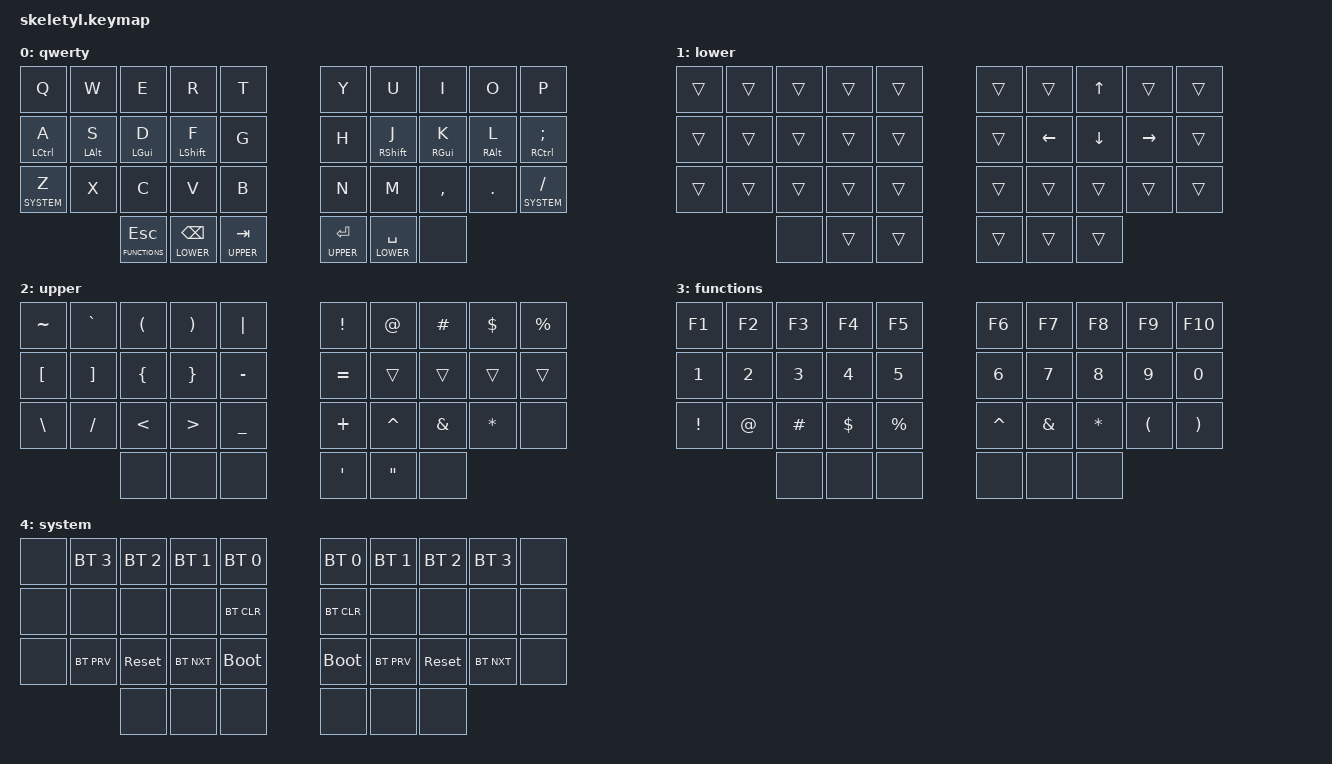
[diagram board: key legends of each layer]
/*
 * Copyright (c) 2023 Charly Delay <0xcharly>
 *
 * SPDX-License-Identifier: MIT
 */

#include <behaviors.dtsi>
#include <dt-bindings/zmk/bt.h>
#include <dt-bindings/zmk/keys.h>

#define QWERTY 0
#define LOWER 1
#define UPPER 2
#define FUNCTIONS 3
#define SYSTEM 4

/ {

  behaviors {

    // Key positions:
    //
    //    0  1  2  3  4    5  6  7  8  9
    //   10 11 12 13 14    15 16 17 18 19
    //   20 21 22 23 24    25 26 27 28 29
    //         30 31 32    33 34 35

    // Tap-preferred flavored homerow mods to use on the right side keys and mouse.
    lhm: left_hand_homerow_mods {
      compatible = "zmk,behavior-hold-tap";
      #binding-cells = <2>;
      tapping-term-ms = <175>;
      quick-tap-ms = <200>;
      require-prior-idle-ms = <200>;
      flavor = "tap-preferred";
      bindings = <&kp>, <&kp>;
      hold-trigger-key-positions = <5 6 7 8 9 15 16 17 18 19 25 26 27 28 29 33 34 35>; // Right-hand keys.
    };

    // Tap-preferred flavored homerow mods to use on the left side keys only.
    rhm: right_hand_homerow_mods {
      compatible = "zmk,behavior-hold-tap";
      #binding-cells = <2>;
      tapping-term-ms = <175>;
      quick-tap-ms = <200>;
      require-prior-idle-ms = <200>;
      flavor = "tap-preferred";
      bindings = <&kp>, <&kp>;
      hold-trigger-key-positions = <0 1 2 3 4 10 11 12 13 14 20 21 22 23 24 30 31 32>; // Left-hand keys.
    };
  };

  /**
   * 36-key keymap, using a Dvorak base layer.
   */
  keymap {
    compatible = "zmk,keymap";

    /** Traditional qwerty layout. */
    qwerty {
                // ------------------------------------------------------------------------------------------------------------
                // |  Q  |  W  |  E   |  R   |  T   |                   |  Y   |  U    |  I    |  O   |   P   |
                // |  A  |  S  |  D   |  F   |  G   |                   |  H   |  J    |  K    |  L   |   ;   |
                // |  Z  |  X  |  C   |  V   |  B   |                   |  N   |  M    |  ,    |  .   |   /   |
                //                    | CTRL | SPCE | LOWER|            | RAISE| ENTR  | RGUI|
      bindings = <
                &kp Q     &kp W    &kp E     &kp R     &kp T                     &kp Y     &kp U    &kp I     &kp O     &kp P    
                &lhm LCTRL A &lhm LALT S    &lhm LGUI D &lhm LSHIFT F     &kp G       &kp H        &rhm RSHIFT J    &rhm RGUI K  &rhm RALT L    &rhm RCTRL SEMI
                &lt SYSTEM Z     &kp X    &kp C     &kp V     &kp B                     &kp N     &kp M    &kp COMMA &kp PERIOD &lt SYSTEM SLASH
                                  &lt FUNCTIONS ESCAPE   &lt LOWER BACKSPACE &lt UPPER TAB                    &lt UPPER ENTER &lt LOWER SPACE &none
			>;
		};

      /**
      * Lower layer. 
      * Arrows, ect. Lots of potential here.
      */
    lower {
      bindings = <
                    /* ╭─────────────────────────────────────────────────────────────╮ ╭──────────────────────────────────────────────────────────────╮ */
                        &trans       &trans       &trans       &trans       &trans      &trans        &trans       &kp UP       &trans       &trans
                        &trans       &trans       &trans       &trans       &trans      &trans        &kp LEFT     &kp DOWN     &kp RIGHT    &trans
                        &trans       &trans       &trans       &trans       &trans      &trans        &trans       &trans       &trans       &trans
                    /* ╰─────────────────────────────────────────────────────────────┤ ├──────────────────────────────────────────────────────────────╯ */
                                                  &none        &trans        &trans     &trans        &trans       &trans
                    /*                           ╰───────────────────────────────────╯ ╰────────────────────────────────────╯                           */
      >;
    };

        /**
        *
        * Symbols.
        *
        *   - Primary hand (right):
        *   - Secondary hand (left):
        */
    upper {
      bindings = <
          /* ╭───────────────────────────────────────────────────────────────────────────────────────────────────────╮ ╭──────────────────────────────────────────────────────────────────────────────╮ */
              &kp TILDE           &kp GRAVE            &kp LEFT_PARENTHESIS    &kp RIGHT_PARENTHESIS    &kp PIPE            &kp EXCLAMATION    &kp AT_SIGN     &kp HASH        &kp DOLLAR   &kp PERCENT
              &kp LEFT_BRACKET    &kp RIGHT_BRACKET    &kp LEFT_BRACE          &kp RIGHT_BRACE          &kp MINUS           &kp EQUAL          &trans       &trans          &trans       &trans
              &kp BACKSLASH       &kp SLASH            &kp LESS_THAN           &kp GREATER_THAN         &kp UNDERSCORE      &kp PLUS           &kp CARET       &kp AMPERSAND   &kp ASTRK    &none
          /* ╰───────────────────────────────────────────────────────────────────────────────────────────────────────┤ ├──────────────────────────────────────────────────────────────────────────────╯ */
                                                                              &none       &none       &none            &kp APOSTROPHE   &kp DOUBLE_QUOTES   &none
          /*                                                                ╰────────────────────────────────────────╯ ╰───────────────────────────────────────────────╯                           */
      >;
    };

        /**
      * F keys, numbers, symbols in top row order
      *
      * Numbers and symbols.
      *
      */
    functions {
      bindings = <
            /* ╭──────────────────────────────────────────────────────────────╮ ╭──────────────────────────────────────────────────────────────────╮ */
                &kp F1      &kp F2    &kp F3      &kp F4       &kp F5             &kp F6       &kp F7          &kp F8         &kp F9     &kp F10
                &kp N1      &kp N2    &kp N3      &kp N4       &kp N5             &kp N6       &kp N7          &kp N8         &kp N9     &kp N0
                &kp EXCL    &kp AT    &kp HASH    &kp DOLLAR   &kp PERCENT        &kp CARET    &kp AMPERSAND   &kp ASTERISK   &kp LPAR   &kp RPAR
            /* ╰──────────────────────────────────────────────────────────────┤ ├──────────────────────────────────────────────────────────────────╯ */
                                      &none        &none       &none              &none        &none           &none
            /*                       ╰────────────────────────────────────────╯ ╰────────────────────────────────────────╯                           */
      >;
    };

    /**
    * System layer for hardware controls.
    *   - Bluetooth channels.
    *   - Reset/bootloader.
    */
    system {
            bindings = <
        /* ╭──────────────────────────────────────────────────────────────────╮ ╭──────────────────────────────────────────────────────────────────╮ */
            &none        &bt BT_SEL 3 &bt BT_SEL 2 &bt BT_SEL 1 &bt BT_SEL 0     &bt BT_SEL 0 &bt BT_SEL 1 &bt BT_SEL 2 &bt BT_SEL 3 &none
            &none        &none        &none        &none        &bt BT_CLR       &bt BT_CLR   &none        &none        &none        &none
            &none        &bt BT_PRV   &sys_reset   &bt BT_NXT   &bootloader      &bootloader  &bt BT_PRV   &sys_reset   &bt BT_NXT   &none
        /* ╰──────────────────────────────────────────────────────────────────┤ ├──────────────────────────────────────────────────────────────────╯ */
                                      &none        &none        &none            &none        &none        &none
        /*                           ╰────────────────────────────────────────╯ ╰────────────────────────────────────────╯                           */
      >;
    };

  };
};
